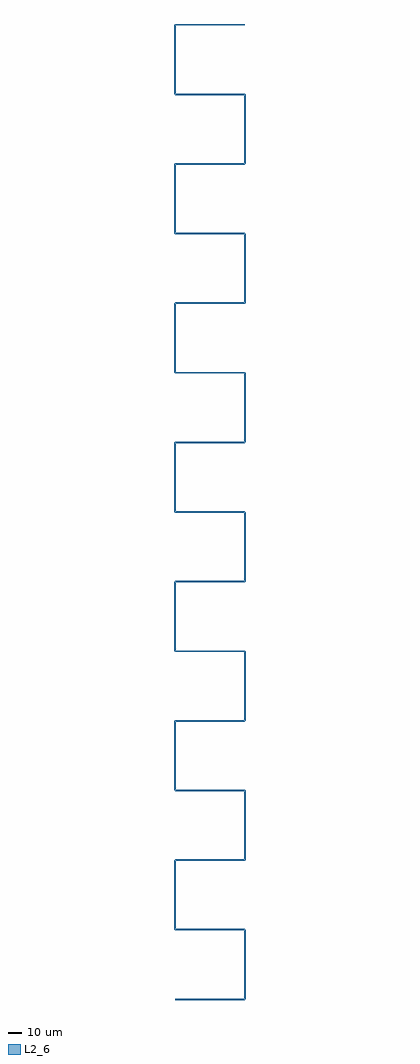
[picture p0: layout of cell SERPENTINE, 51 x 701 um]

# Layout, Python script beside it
import gdspy

# Create a new GDSII library
lib = gdspy.GdsLibrary()

# Create a new cell
cell = lib.new_cell('SERPENTINE')

# Starting point
start = (0, 0)

# Path width in micrometers
path_width = 1.0  

# Create a path with the specified width starting at (0, 0)
path = gdspy.Path(path_width, start)

# Set the layer and datatype
layer = 2
datatype = 6

# Number of turns in the serpentine
num_turns = 15

# Length of each segment in micrometers
segment_length = 50.0  

# Initial direction for the horizontal segment
direction = '+x'

# Build the serpentine pattern
for i in range(num_turns):
    # Horizontal movement
    path.segment(segment_length, direction, layer=layer, datatype=datatype)
    # If not the last turn, move vertically and reverse direction
    if i < num_turns - 1:
        path.segment(segment_length, '+y', layer=layer, datatype=datatype)
        # Reverse horizontal direction for next segment
        direction = '-x' if direction == '+x' else '+x'

# Add the path to the cell
cell.add(path)

# Save the GDSII file
lib.write_gds('serpentine.gds')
